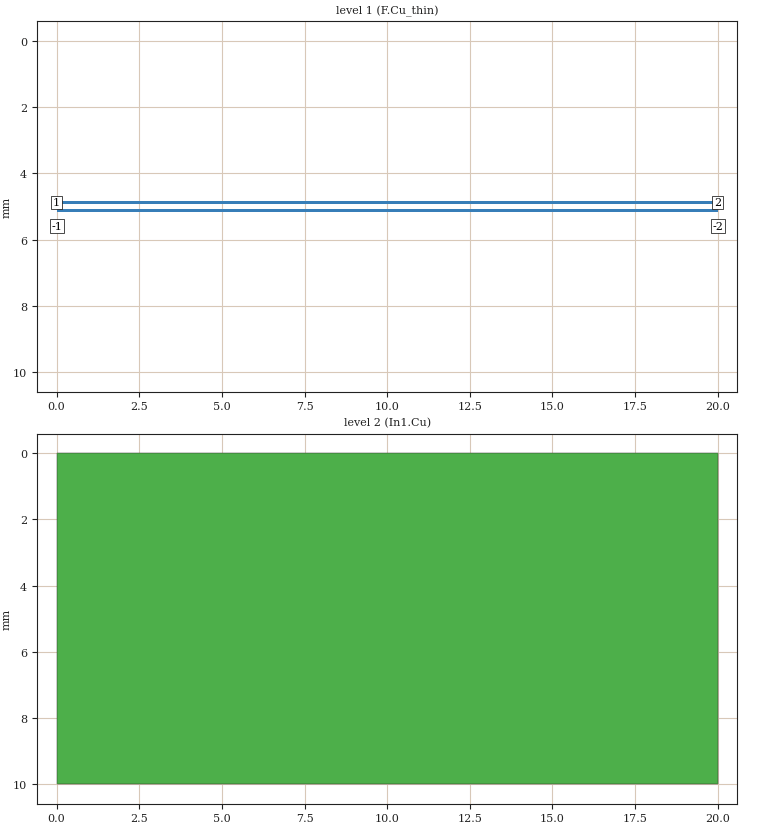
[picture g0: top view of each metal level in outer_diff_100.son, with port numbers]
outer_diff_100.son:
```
FTYP SONPROJ 19 ! Sonnet Project File
VER 18.56
HEADER
LIC antikernel2.1.65565
DAT 12/11/2024 23:13:34
BUILT_BY_CREATED xgeom 18.52 11/18/2021 20:28:07
BUILT_BY_SAVED sonnet 18.56
MDATE 12/11/2024 23:12:27
HDATE 12/11/2024 23:12:27
END HEADER
DIM
ANG DEG
CAP PF
CON /OH
FREQ GHZ
IND NH
LNG MM
RES OH
END DIM
CONTROL
VARSWP
OPTIONS  -dj
SPEED 0
CACHE_ABS 2
Q_ACC N
END CONTROL
GEO
TMET "Free Space" 0 FREESPACE 376.7303136 0 0 0
BMET "Free Space" 0 FREESPACE 376.7303136 0 0 0
MET "Copper_1oz_thin" 1 NOR 58000000 0.5 0.035 
MET "Copper_1oz_thick" 2 TMM 58000000 0.5 0.035 2
MET "Copper_1oz_thick_down" 3 TMM 58000000 0.5 0.035 2 CDVY TDWN
MET "Copper_0.5oz_thin" 4 NOR 58000000 0.5 0.017 
MET "Copper_0.5oz_thick" 12 TMM 58000000 0.5 0.017 2
MET "Copper_0.5oz_thick_down" 5 TMM 58000000 0.5 0.017 2 CDVY TDWN
BOX 12 20 10 4000 4000 20 0
      5 1 1 0 0 0 0 "Air"
      0.04 3.5 1 0.025 0 0 0 "Soldermask"
      0.076 4.49 1 0.016 0 0 0 "Shengyi_S1000-2M"
      0.1 4.49 1 0.016 0 0 0 "Shengyi_S1000-2M"
      0.119 4.49 1 0.016 0 0 0 "Shengyi_S1000-2M"
      0.1 4.49 1 0.016 0 0 0 "Shengyi_S1000-2M"
      0.5 4.49 1 0.016 0 0 0 "Shengyi_S1000-2M"
      0.1 4.49 1 0.016 0 0 0 "Shengyi_S1000-2M"
      0.119 4.49 1 0.016 0 0 0 "Shengyi_S1000-2M"
      0.1 4.49 1 0.016 0 0 0 "Shengyi_S1000-2M"
      0.076 4.49 1 0.016 0 0 0 "Shengyi_S1000-2M"
      0.04 3.5 1 0.025 0 0 0 "Soldermask"
      5 1 1 0 0 0 0 "Air"
TECHLAY METAL F.Cu_thin <UNSPECIFIED> -1 -65534 CAD F.Cu_thin drawing 
1 0 0 N 120 1 1 100 100 0 0 0 Y
END
END
TECHLAY METAL F.Cu_thick <UNSPECIFIED> -2 -65534 CAD F.Cu_thick drawing 
1 0 1 N 124 1 1 100 100 0 0 0 Y
END
END
TECHLAY VIA Via1 <UNSPECIFIED> -13 -65534 CAD Via1 drawing 
VIA POLYGON
1 0 -1 N 221 1 1 100 100 0 0 0 Y
TOLEVEL 10 RING NOCOVERS
END
END
TECHLAY METAL In1.Cu <UNSPECIFIED> -3 -65534 CAD In1.Cu drawing 
2 0 0 N 129 1 1 100 100 0 0 0 Y
END
END
TECHLAY METAL In2.Cu_thin <UNSPECIFIED> -4 -65534 CAD In2.Cu drawing 
3 0 3 N 132 1 1 100 100 0 0 0 Y
END
END
TECHLAY METAL In2.Cu_thick <UNSPECIFIED> -5 -65534 CAD In2.Cu_thick drawing 
3 0 4 N 134 1 1 100 100 0 0 0 Y
END
END
TECHLAY METAL In3.Cu <UNSPECIFIED> -6 -65534 CAD In3.Cu drawing 
4 0 0 N 137 1 1 100 100 0 0 0 Y
END
END
TECHLAY METAL In4.Cu <UNSPECIFIED> -7 -65534 CAD In4.Cu drawing 
5 0 0 N 140 1 1 100 100 0 0 0 Y
END
END
TECHLAY METAL In5.Cu <UNSPECIFIED> -14 -65534 
6 0 0 N 143 1 1 100 100 0 0 0 Y
END
END
TECHLAY METAL In6.Cu <UNSPECIFIED> -15 -65534 
7 0 0 N 146 1 1 100 100 0 0 0 Y
END
END
TECHLAY METAL In7.Cu_thin <UNSPECIFIED> -8 -65534 CAD In5.Cu drawing 
8 0 3 N 149 1 1 100 100 0 0 0 Y
END
END
TECHLAY METAL In7.Cu_thick <UNSPECIFIED> -9 -65534 CAD In5.Cu_thick drawing 
8 0 5 N 151 1 1 100 100 0 0 0 Y
END
END
TECHLAY METAL In8.Cu <UNSPECIFIED> -10 -65534 CAD In6.Cu drawing 
9 0 0 N 154 1 1 100 100 0 0 0 Y
END
END
TECHLAY METAL B.Cu_thin <UNSPECIFIED> -11 -65534 CAD B.Cu_thin drawing 
10 0 0 N 157 1 1 100 100 0 0 0 Y
END
END
TECHLAY METAL B.Cu_thick <UNSPECIFIED> -12 -65534 CAD B.Cu_thick drawing 
10 0 2 N 159 1 1 100 100 0 0 0 Y
END
END
VALVAR CORE_ER NONE "table1(\"../../../sata-sniffer/sims/core_er.csv\",FREQ)" "Variable set in material file"
VALVAR CORE_DF NONE "table1(\"../../../sata-sniffer/sims/core_df.csv\",FREQ)" "Variable set in material file"
VALVAR PREPREG_DF NONE "table1(\"../../../sata-sniffer/sims/prepreg_df.csv\",FREQ)" "Variable set in material file"
VALVAR PREPREG_ER NONE "table1(\"../../../sata-sniffer/sims/prepreg_er.csv\",FREQ)" "Variable set in material file"
VALVAR WIDTH LNG 0.1 "Dim. Param."
VALVAR WIDTH2 LNG "WIDTH" "Dim. Param."
VALVAR SPACE LNG 0.15 "Dim. Param."
LORGN 0 10 U 
POR1 BOX
POLY 104 1
3
1 100 0 0 0 0 4.875 
POR1 BOX
POLY 104 1
1
2 100 0 0 0 20 4.875 
POR1 BOX
POLY 192 1
3
-1 100 0 0 0 0 5.125 
POR1 BOX
POLY 192 1
1
-2 100 0 0 0 20 5.125 
NUM 3
1 5 0 N 104 1 1 100 100 0 0 0 Y
TLAYNAM F.Cu_thin INH
0 4.825
20 4.825
20 4.925
0 4.925
0 4.825
END
1 5 0 N 192 1 1 100 100 0 0 0 Y
TLAYNAM F.Cu_thin INH
0 5.075
20 5.075
20 5.175
0 5.175
0 5.075
END
2 5 0 N 103 1 1 100 100 0 0 0 Y
TLAYNAM In1.Cu INH
0 0
20 0
20 10
0 10
0 0
END
END GEO
OPT
MAX 100
END OPT
VARSWP
SWPVARS ON
ENABLED Y
FREQ Y AY ABS_ENTRY 0.01 16.0 -1 300 
VAR WIDTH N 0.1 0.1 UNDEF
VAR SPACE Y 0.1 0.2 0.05
END
END VARSWP
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```
